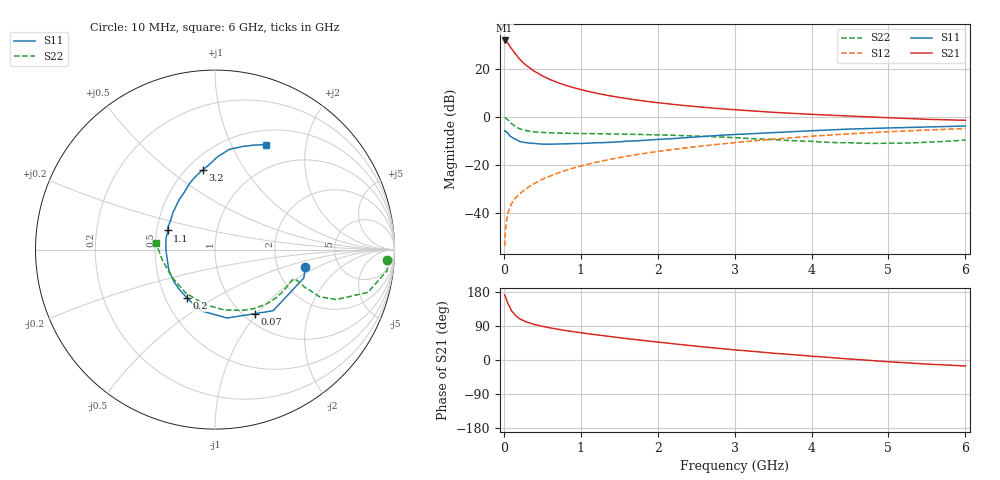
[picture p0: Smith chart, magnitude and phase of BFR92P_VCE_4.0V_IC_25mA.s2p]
! Infineon Technologies  Discrete & RF Semiconductors
! BFR92P
! VCE =  4.0 V,  IC =  25 mA
! Common Emitter S-Parameters:  Apr 2014
# GHz  S  MA  R  50
!  f  S11  S21  S12  S22
! GHz  MAG  ANG  MAG  ANG  MAG  ANG  MAG  ANG
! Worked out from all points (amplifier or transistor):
!   77 points, 10 MHz to 6 GHz, reference 50 ohm
!   highest |S21| = 32.1 dB at 10 MHz (marker M1)
!   |S21| within 3 dB of that: start of sweep to 90.22 MHz
!   unconditionally stable (mu >= 1): 410.7 MHz to 2.171 GHz
!   at 130 MHz: K = 0.63, MSG = 31.0 dB, |S12| = -34.8 dB
!   at 2.2 GHz: K = 1.00, MSG = 9.4 dB, |S12| = -13.5 dB
!   at 6 GHz: K = 0.88, MSG = 1.7 dB, |S12| = -4.8 dB
!   S11 on the Smith chart (normalised r, x): 10 MHz: 2.87, -0.77; 70 MHz: 1.12, -0.97; 200 MHz: 0.64, -0.38; 1.1 GHz: 0.57, +0.13; 3.2 GHz: 0.60, +0.66; 6 GHz: 0.68, +1.38
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0.01  0.512 -11.1  40.06 172.0  0.002 87.2  0.9588 -3.3
0.02  0.5197 -17.6  39.93 167.0  0.004 91.8  0.9671 -6.9
0.05  0.4702 -46.4  35.84 149.7  0.0095 76.4  0.8847 -15.6
0.07  0.4198 -58.2  31.83 142.9  0.0118 70.9  0.8218 -18.0
0.1  0.3869 -80.1  26.96 129.3  0.0154 65.8  0.7307 -22.4
0.15  0.3495 -103.3  21.02 117.7  0.0202 66.3  0.6362 -24.3
0.2  0.3108 -120.3  16.68 109.4  0.024 67.8  0.5739 -23.2
0.25  0.2982 -131.8  13.8 104.4  0.0286 69.2  0.5421 -22.8
0.3  0.2903 -142.2  11.73 99.8  0.0326 69.8  0.5164 -21.6
0.4  0.2817 -156.2  9.015 93.6  0.0411 71.5  0.4903 -20.7
0.5  0.2724 -166.1  7.284 88.8  0.0502 73.1  0.4782 -20.4
0.6  0.2713 -174.1  6.115 84.8  0.0583 74.0  0.4698 -20.6
0.7  0.2741 178.9  5.278 81.2  0.0674 74.2  0.4647 -21.1
0.8  0.2758 172.3  4.64 77.9  0.0765 73.8  0.4605 -22.2
1.1  0.2848 158.0  3.436 69.2  0.1044 72.9  0.4529 -26.3
1.5  0.3048 142.0  2.582 59.0  0.1423 70.3  0.4428 -33.0
2.1  0.3484 123.0  1.924 45.2  0.2008 65.2  0.4206 -44.5
3.1  0.4402 100.6  1.392 25.1  0.3024 54.4  0.3632 -68.7
3.2  0.448 98.9  1.357 23.4  0.3129 53.1  0.3558 -71.7
4.1  0.5267 86.9  1.123 8.7  0.4079 42.1  0.3036 -105.1
5.1  0.598 74.3  0.956 -5.8  0.5029 28.0  0.2846 -152.1
6  0.6518 63.9  0.859 -15.8  0.5773 15.2  0.3321 173.2
